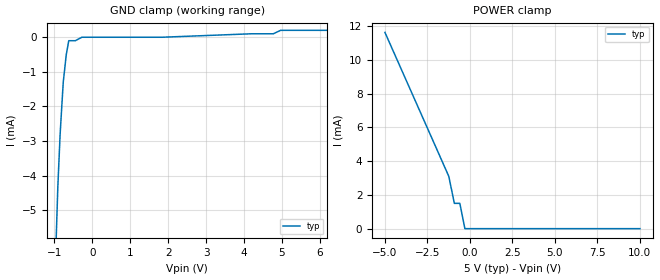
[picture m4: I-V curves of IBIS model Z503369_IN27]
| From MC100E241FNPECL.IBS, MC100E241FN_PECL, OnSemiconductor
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| (C) COPYRIGHT 1993-2000
| MENTOR GRAPHICS CORPORATION
| ICX STANDARD LIBRARY, ICX PROJECT MODELING,
| ICX CUSTOM MODELING, ICX VENDOR MODEL
| ALL RIGHTS RESERVED.
| THE FOLLOWING ARE TRADEMARKS OR SERVICE MARKS OF
| MENTOR GRAPHICS CORPORATION:ICX (R), ICX STANDARD
| LIBRARY(R), ICX PROJECT MODELING(R), ICX CUSTOM
| MODELING(R), qualityIBIS(TM), MODELVIEWER(TM),
| AND MODELEDITOR(TM)
| ALL COPIES OF SOFTWARE, INCLUDING BUT NOT LIMITED TO
| ANY MODIFICATIONS, ENHANCEMENTS OR DERIVATIVE WORKS,
| MUST CONTAIN ALL MENTOR GRAPHICS CORPORATION'S
| NOTICES AND LEGENDS, INCLUDING THOSE EMBEDDED IN
| SOFTWARE AND THOSE AFFIXED TO SOFTWARE MEDIUM
| AND CONTAINER, AS RECEIVED FROM MENTOR GRAPHICS
| CORPORATION.
| Model Application Version 1.89 2/18/99.
[Model] Z503369_IN27
Model_type Input_ECL
Vinl = 3.525V
Vinh = 3.835V
C_comp 4.000pF NA NA
| variable typ   min   max
[Voltage Range] 5.000V NA NA
[GND Clamp Reference] 0.000V NA NA
[POWER Clamp Reference] 5.000V NA NA
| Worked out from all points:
|   GND clamp passes 1 mA (typ) near -0.74 V on its own axis
[GND Clamp]
-5V       -196.8mA   NA         NA
-1.053V   -9.2mA     NA         NA
-911mV    -4.3mA     NA         NA
-851mV    -2.8mA     NA         NA
-769mV    -1.3mA     NA         NA
-689mV    -500uA     NA         NA
-622.8mV  -100uA     NA         NA
-450.5mV  -100uA     NA         NA
-278.3mV  0A         NA         NA
4.773V    100uA      NA         NA
4.965V    200uA      NA         NA
10V       200uA      NA         NA
[POWER Clamp]
-5V       11.64mA    NA         NA
-1.242V   3.1mA      NA         NA
-917.5mV  1.5mA      NA         NA
-593mV    1.5mA      NA         NA
-296.5mV  0A         NA         NA
10V       0A         NA         NA
